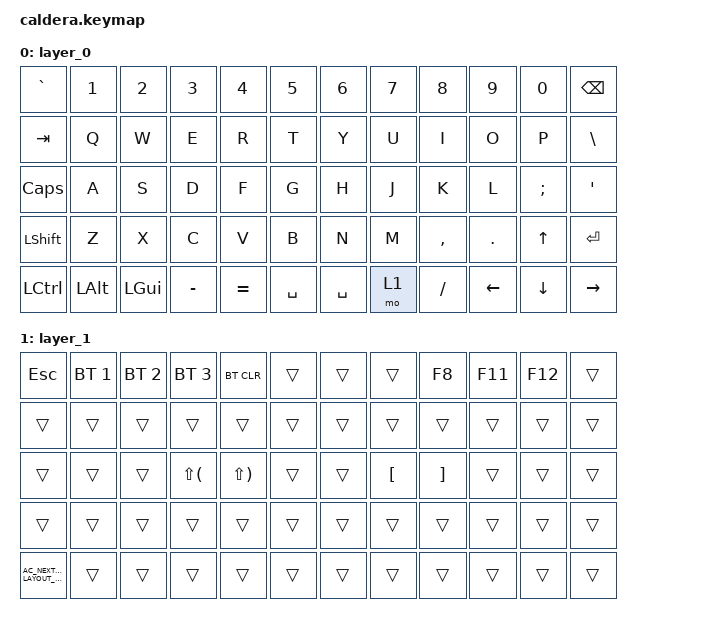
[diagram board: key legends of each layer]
#include <behaviors.dtsi>
#include <dt-bindings/zmk/bt.h>
#include <dt-bindings/zmk/keys.h>

/ {
    keymap {
        compatible = "zmk,keymap";

        layer_0 {
            bindings = <
&kp GRAVE  &kp N1    &kp N2    &kp N3     &kp N4     &kp N5       &kp N6     &kp N7  &kp N8     &kp N9    &kp N0    &kp BSPC
&kp TAB    &kp Q     &kp W     &kp E      &kp R      &kp T        &kp Y      &kp U   &kp I      &kp O     &kp P     &kp BSLH
&kp CAPS   &kp A     &kp S     &kp D      &kp F      &kp G        &kp H      &kp J   &kp K      &kp L     &kp SEMI  &kp SQT
&kp LSHFT  &kp Z     &kp X     &kp C      &kp V      &kp B        &kp N      &kp M   &kp COMMA  &kp DOT   &kp UP    &kp RET
&kp LCTRL  &kp LALT  &kp LGUI  &kp MINUS  &kp EQUAL  &kp SPACE    &kp SPACE  &mo 1   &kp FSLH   &kp LEFT  &kp DOWN  &kp RIGHT
            >;
        };

        layer_1 {
            bindings = <
&kp ESC                               &bt BT_SEL 1  &bt BT_SEL 2  &bt BT_SEL 3  &bt BT_CLR    &trans    &trans  &trans    &kp F8    &kp F11  &kp F12  &trans
&trans                                &trans        &trans        &trans        &trans        &trans    &trans  &trans    &trans    &trans   &trans   &trans
&trans                                &trans        &trans        &kp LS(LPAR)  &kp LS(RPAR)  &trans    &trans  &kp LBKT  &kp RBKT  &trans   &trans   &trans
&trans                                &trans        &trans        &trans        &trans        &trans    &trans  &trans    &trans    &trans   &trans   &trans
&kp C_AC_NEXT_KEYBOARD_LAYOUT_SELECT  &trans        &trans        &trans        &trans        &trans    &trans  &trans    &trans    &trans   &trans   &trans
            >;
        };
    };
};
